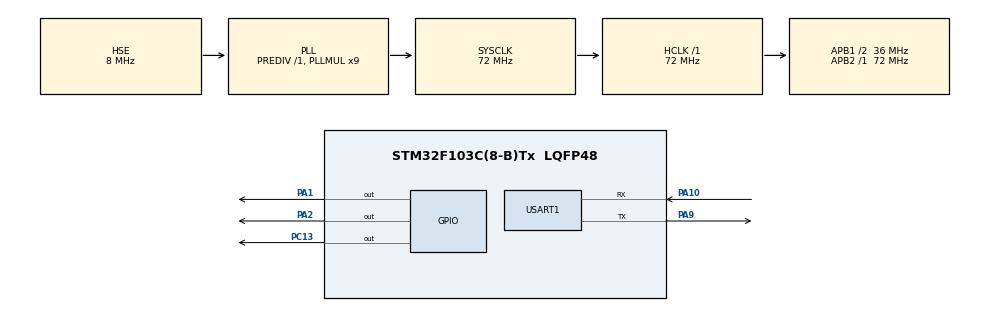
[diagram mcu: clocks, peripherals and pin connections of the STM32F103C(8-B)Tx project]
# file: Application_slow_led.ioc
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Mcu.Family=STM32F1
Mcu.Name=STM32F103C(8-B)Tx
Mcu.Package=LQFP48
NVIC.PriorityGroup=NVIC_PRIORITYGROUP_4
NVIC.USART1_IRQn=true\:5\:0\:true\:false\:true\:true\:true\:true
PA1.Signal=GPIO_Output
PA10.Mode=Asynchronous
PA10.Signal=USART1_RX
PA13.Mode=Serial_Wire
PA13.Signal=SYS_JTMS-SWDIO
PA14.Mode=Serial_Wire
PA14.Signal=SYS_JTCK-SWCLK
PA2.Signal=GPIO_Output
PA9.Mode=Asynchronous
PA9.Signal=USART1_TX
PC13-TAMPER-RTC.Signal=GPIO_Output
PD0-OSC_IN.Mode=HSE-External-Oscillator
PD0-OSC_IN.Signal=RCC_OSC_IN
PD1-OSC_OUT.Mode=HSE-External-Oscillator
PD1-OSC_OUT.Signal=RCC_OSC_OUT
ProjectManager.HeapSize=0x200
ProjectManager.StackSize=0x400
ProjectManager.TargetToolchain=STM32CubeIDE
RCC.AHBFreq_Value=72000000
RCC.APB1CLKDivider=RCC_HCLK_DIV2
RCC.APB1Freq_Value=36000000
RCC.APB1TimFreq_Value=72000000
RCC.APB2Freq_Value=72000000
RCC.APB2TimFreq_Value=72000000
RCC.HCLKFreq_Value=72000000
RCC.PLLMUL=RCC_PLL_MUL9
RCC.PLLSourceVirtual=RCC_PLLSOURCE_HSE
RCC.SYSCLKFreq_VALUE=72000000
RCC.SYSCLKSource=RCC_SYSCLKSOURCE_PLLCLK
RCC.USBFreq_Value=72000000
USART1.VirtualMode=VM_ASYNC
board=custom

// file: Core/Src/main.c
/* USER CODE BEGIN Header */
/**
  ******************************************************************************
  * @file           : main.c
  * @brief          : Main program body
  ******************************************************************************
  * @attention
  *
  * Copyright (c) 2026 STMicroelectronics.
  * All rights reserved.
  *
  * This software is licensed under terms that can be found in the LICENSE file
  * in the root directory of this software component.
  * If no LICENSE file comes with this software, it is provided AS-IS.
  *
  ******************************************************************************
  */
/* USER CODE END Header */
#include "main.h"
#include "usart.h"
#include "gpio.h"

/* USER CODE BEGIN Includes */
#include "flash_layout.h"
#include "app_header.h"
#include "bl_flag.h"
#include "app_bl_entry.h"
/* USER CODE END Includes */

/* USER CODE BEGIN PTD */
#ifndef APP_BLINK_MS
#define APP_BLINK_MS 1000U
#endif

/* USER CODE END PTD */

void SystemClock_Config(void);

/* USER CODE BEGIN 0 */
__attribute__((section(".header"))) const app_header_t app_header =
{
	.reserved = 0,
	.magic = 0xABCDEFAB,
	.size = 0,
	.crc = 0,
	.version = 0
};
/* USER CODE END 0 */

int main(void)
{

  /* MCU Configuration--------------------------------------------------------*/

  /* Reset of all peripherals, Initializes the Flash interface and the Systick. */
  HAL_Init();

  /* USER CODE BEGIN Init */
  SCB->VTOR = APP_START_ADDR; // trỏ đến đầu bộ nhớ ứng dụng

  __enable_irq();
  /* USER CODE END Init */

  /* Configure the system clock */
  SystemClock_Config();

  /* Initialize all configured peripherals */
  MX_GPIO_Init();
  MX_USART1_UART_Init();
  /* USER CODE BEGIN 2 */

  __HAL_RCC_GPIOC_CLK_ENABLE();
  GPIO_InitTypeDef led = {0};
  led.Pin = GPIO_PIN_13;
  led.Mode = GPIO_MODE_OUTPUT_PP;
  led.Pull = GPIO_NOPULL;
  led.Speed = GPIO_SPEED_FREQ_LOW;
  HAL_GPIO_Init(GPIOC, &led);

  HAL_UART_Transmit(&huart1, (uint8_t*)"Inside Application!!\r\n", 22, 100);
  uint32_t led_changed_at = HAL_GetTick();
  /* USER CODE END 2 */

  /* Infinite loop */
  while (1)
  {

    /* USER CODE BEGIN 3 */
	  uint32_t now = HAL_GetTick();
	  bl_poll();

	  if ((now - led_changed_at) >= APP_BLINK_MS) {
		  led_changed_at = now;
	      HAL_GPIO_TogglePin(GPIOC, GPIO_PIN_13);
	      HAL_GPIO_TogglePin(GPIOA, GPIO_PIN_2);
	  }

  }
  /* USER CODE END 3 */
}

void SystemClock_Config(void)
{
  RCC_OscInitTypeDef RCC_OscInitStruct = {0};
  RCC_ClkInitTypeDef RCC_ClkInitStruct = {0};

  /** Initializes the RCC Oscillators according to the specified parameters
  * in the RCC_OscInitTypeDef structure.
  */
  RCC_OscInitStruct.OscillatorType = RCC_OSCILLATORTYPE_HSE;
  RCC_OscInitStruct.HSEState = RCC_HSE_ON;
  RCC_OscInitStruct.HSEPredivValue = RCC_HSE_PREDIV_DIV1;
  RCC_OscInitStruct.HSIState = RCC_HSI_ON;
  RCC_OscInitStruct.PLL.PLLState = RCC_PLL_ON;
  RCC_OscInitStruct.PLL.PLLSource = RCC_PLLSOURCE_HSE;
  RCC_OscInitStruct.PLL.PLLMUL = RCC_PLL_MUL9;
  if (HAL_RCC_OscConfig(&RCC_OscInitStruct) != HAL_OK)
  {
    Error_Handler();
  }

  /** Initializes the CPU, AHB and APB buses clocks
  */
  RCC_ClkInitStruct.ClockType = RCC_CLOCKTYPE_HCLK|RCC_CLOCKTYPE_SYSCLK
                              |RCC_CLOCKTYPE_PCLK1|RCC_CLOCKTYPE_PCLK2;
  RCC_ClkInitStruct.SYSCLKSource = RCC_SYSCLKSOURCE_PLLCLK;
  RCC_ClkInitStruct.AHBCLKDivider = RCC_SYSCLK_DIV1;
  RCC_ClkInitStruct.APB1CLKDivider = RCC_HCLK_DIV2;
  RCC_ClkInitStruct.APB2CLKDivider = RCC_HCLK_DIV1;

  if (HAL_RCC_ClockConfig(&RCC_ClkInitStruct, FLASH_LATENCY_2) != HAL_OK)
  {
    Error_Handler();
  }
}

void Error_Handler(void)
{
  __disable_irq();
  while (1)
  {
  }
}
